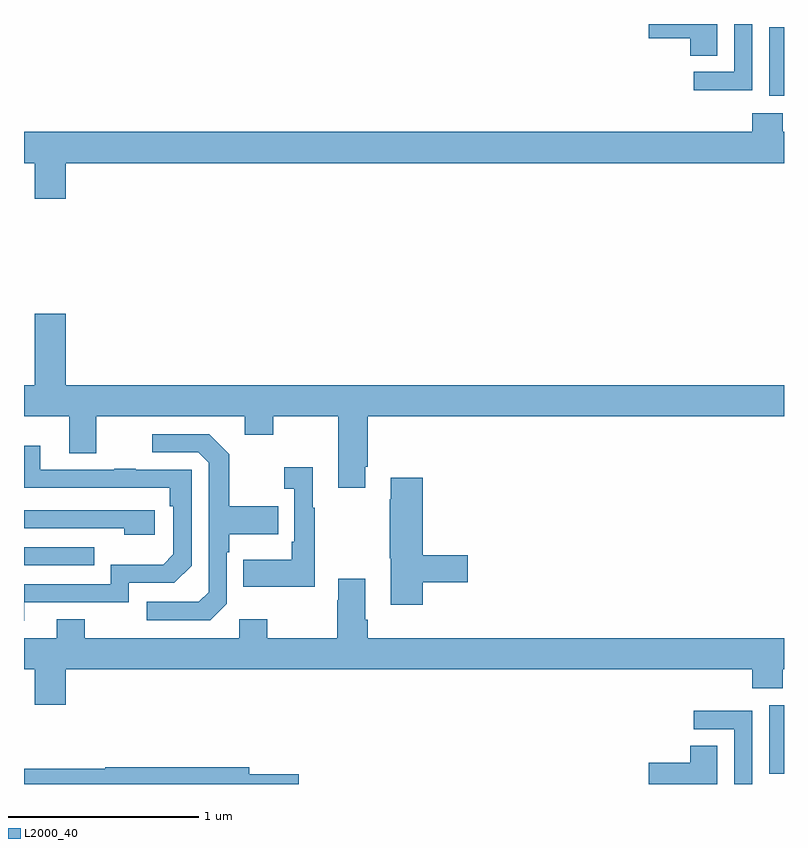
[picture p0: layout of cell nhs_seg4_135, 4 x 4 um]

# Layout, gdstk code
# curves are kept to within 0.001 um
import gdstk
lib = gdstk.Library(unit=1e-6, precision=1e-09)
def R(c, l, rs):  # rectangles x0, y0, x1, y1
    for r in rs: c.add(gdstk.rectangle(r[:2], r[2:], *l))
def P(c, l, *ps):  # polygons
    for p in ps: c.add(gdstk.Polygon(p, *l))
L2000_40 = (2000, 40)

nhs_seg4_135 = lib.new_cell('nhs_seg4_135')
R(nhs_seg4_135, L2000_40, [(120.923,778.953,121,779.314), (117,780.051,117.371,780.147), (120.923,782.522,121,782.883)])
P(nhs_seg4_135, L2000_40, [(120.649,782.9),(120.288,782.9),(120.288,782.825),(120.506,782.825),(120.506,782.734),(120.649,782.734)],
  [(120.834,782.9),(120.738,782.9),(120.738,782.649),(120.525,782.649),(120.525,782.551),(120.834,782.551)],
  [(117.22,782.168),(121,782.168),(121,782.332),(120.993,782.332),(120.993,782.431),(120.833,782.431),(120.833,782.332),(117,782.332),(117,782.168),(117.056,782.168),(117.056,781.98),(117.22,781.98)],
  [(118.795,780.571),(118.808,780.571),(118.808,780.836),(121,780.836),(121,781),(117.22,781),(117.22,781.375),(117.056,781.375),(117.056,781),(117,781),(117,780.836),(117.239,780.836),(117.239,780.642),(117.379,780.642),(117.379,780.836),(118.163,780.836),(118.163,780.737),(118.311,780.737),(118.311,780.836),(118.655,780.836),(118.655,780.459),(118.795,780.459)],
  [(118.068,779.85),(118.068,780.119),(118.081,780.119),(118.081,780.215),(118.337,780.215),(118.337,780.363),(118.081,780.363),(118.081,780.635),(117.975,780.741),(117.675,780.741),(117.675,780.645),(117.918,780.645),(117.972,780.591),(117.972,779.91),(117.921,779.859),(117.645,779.859),(117.645,779.763),(117.981,779.763)],
  [(117.001,779.856),(117.552,779.856),(117.552,779.958),(117.792,779.958),(117.882,780.048),(117.882,780.555),(117.587,780.555),(117.587,780.56),(117.475,780.56),(117.475,780.555),(117.085,780.555),(117.085,780.679),(117,780.679),(117,780.46),(117.766,780.459),(117.766,780.362),(117.786,780.362),(117.786,780.108),(117.733,780.055),(117.456,780.055),(117.456,779.952),(117,779.952),(117,779.76)],
  [(118.531,780.355),(118.519,780.355),(118.519,780.568),(118.371,780.568),(118.371,780.455),(118.422,780.455),(118.422,780.175),(118.41,780.175),(118.41,780.079),(118.153,780.079),(118.153,779.939),(118.531,779.939)],
  [(119.099,779.962),(119.335,779.962),(119.335,780.104),(119.099,780.104),(119.099,780.511),(118.931,780.511),(118.931,780.398),(118.924,780.398),(118.924,780.087),(118.931,780.087),(118.931,779.844),(119.099,779.844)],
  [(117.688,780.342),(117,780.342),(117,780.246),(117.527,780.246),(117.527,780.212),(117.688,780.212)],
  [(117.22,779.504),(120.833,779.504),(120.833,779.405),(120.993,779.405),(120.993,779.504),(121,779.504),(121,779.668),(118.808,779.668),(118.808,779.764),(118.795,779.764),(118.795,779.98),(118.655,779.98),(118.655,779.867),(118.648,779.867),(118.648,779.668),(118.281,779.668),(118.281,779.767),(118.134,779.767),(118.134,779.668),(117.321,779.668),(117.321,779.767),(117.173,779.767),(117.173,779.668),(117,779.668),(117,779.504),(117.056,779.504),(117.056,779.316),(117.22,779.316)],
  [(120.834,779.286),(120.525,779.286),(120.525,779.187),(120.738,779.187),(120.738,778.9),(120.834,778.9)],
  [(120.649,779.102),(120.506,779.102),(120.506,779.012),(120.288,779.012),(120.288,778.9),(120.649,778.9)],
  [(118.447,778.952),(118.186,778.952),(118.186,778.988),(117.427,778.988),(117.427,778.981),(117,778.981),(117,778.9),(118.447,778.9)])

lib.write_gds('nhs_seg4_135.gds')
